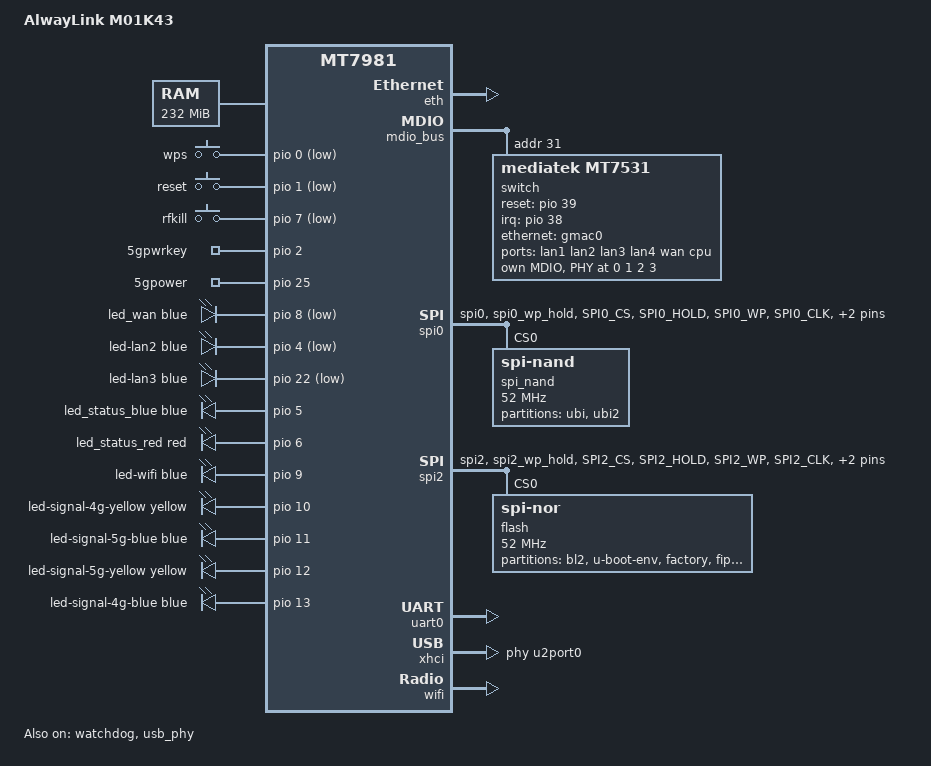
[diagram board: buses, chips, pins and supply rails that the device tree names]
// SPDX-License-Identifier: GPL-2.0-or-later OR MIT

/dts-v1/;

#include <dt-bindings/gpio/gpio.h>
#include <dt-bindings/input/input.h>
#include <dt-bindings/leds/common.h>
#include <dt-bindings/pinctrl/mt65xx.h>

#include "mt7981b.dtsi"

/ {
	model = "AlwayLink M01K43";
	compatible = "alwaylink,m01k43", "mediatek,mt7981";

	aliases {
		serial0 = &uart0;
		label-mac-device = &gmac0;
		led-boot = &led_wan;
		led-failsafe = &led_status_red;
		led-running = &led_status_blue;
		led-upgrade = &led_status_blue;
	};

	chosen {
		stdout-path = "serial0:115200n8";
	};

	memory@40000000 {
		reg = <0 0x40000000 0 0x0e800000>;
		device_type = "memory";
	};

	gpio-keys {
		compatible = "gpio-keys";

		button-wps {
			label = "wps";
			linux,code = <KEY_WPS_BUTTON>;
			gpios = <&pio 0 GPIO_ACTIVE_LOW>;
			debounce-interval = <20>;
		};

		button-reset {
			label = "reset";
			linux,code = <KEY_RESTART>;
			gpios = <&pio 1 GPIO_ACTIVE_LOW>;
			debounce-interval = <20>;
		};

		button-rfkill {
			label = "rfkill";
			linux,code = <KEY_RFKILL>;
			gpios = <&pio 7 GPIO_ACTIVE_LOW>;
			debounce-interval = <20>;
		};
	};

	gpio-export {
		compatible = "gpio-export";

		modem-pwrkey {
			gpio-export,name = "5gpwrkey";
			gpio-export,output = <0>;
			gpios = <&pio 2 GPIO_ACTIVE_HIGH>;
		};

		modem-power {
			gpio-export,name = "5gpower";
			gpio-export,output = <0>;
			gpios = <&pio 25 GPIO_ACTIVE_HIGH>;
		};
	};

	leds {
		compatible = "gpio-leds";

		led_wan: led-wan {
			color = <LED_COLOR_ID_BLUE>;
			function = LED_FUNCTION_WAN;
			gpios = <&pio 8 GPIO_ACTIVE_LOW>;
		};

		led-lan2 {
			color = <LED_COLOR_ID_BLUE>;
			function = LED_FUNCTION_LAN;
			function-enumerator = <2>;
			gpios = <&pio 4 GPIO_ACTIVE_LOW>;
		};

		led-lan3 {
			color = <LED_COLOR_ID_BLUE>;
			function = LED_FUNCTION_LAN;
			function-enumerator = <3>;
			gpios = <&pio 22 GPIO_ACTIVE_LOW>;
		};

		led_status_blue: led-status-blue {
			color = <LED_COLOR_ID_BLUE>;
			function = LED_FUNCTION_STATUS;
			gpios = <&pio 5 GPIO_ACTIVE_HIGH>;
		};

		led_status_red: led-status-red {
			color = <LED_COLOR_ID_RED>;
			function = LED_FUNCTION_STATUS;
			function-enumerator = <1>;
			gpios = <&pio 6 GPIO_ACTIVE_HIGH>;
		};

		led-wifi {
			color = <LED_COLOR_ID_BLUE>;
			function = LED_FUNCTION_WLAN;
			gpios = <&pio 9 GPIO_ACTIVE_HIGH>;
		};

		led-signal-4g-yellow {
			color = <LED_COLOR_ID_YELLOW>;
			function = LED_FUNCTION_INDICATOR;
			function-enumerator = <0>;
			gpios = <&pio 10 GPIO_ACTIVE_HIGH>;
		};

		led-signal-5g-blue {
			color = <LED_COLOR_ID_BLUE>;
			function = LED_FUNCTION_INDICATOR;
			function-enumerator = <1>;
			gpios = <&pio 11 GPIO_ACTIVE_HIGH>;
		};

		led-signal-5g-yellow {
			color = <LED_COLOR_ID_YELLOW>;
			function = LED_FUNCTION_INDICATOR;
			function-enumerator = <2>;
			gpios = <&pio 12 GPIO_ACTIVE_HIGH>;
		};

		led-signal-4g-blue {
			color = <LED_COLOR_ID_BLUE>;
			function = LED_FUNCTION_INDICATOR;
			function-enumerator = <3>;
			gpios = <&pio 13 GPIO_ACTIVE_HIGH>;
		};
	};
};

&eth {
	status = "okay";

	gmac0: mac@0 {
		compatible = "mediatek,eth-mac";
		reg = <0>;
		phy-mode = "2500base-x";
		/* MAC address in ledeinfo partition on SPI-NOR */

		fixed-link {
			speed = <2500>;
			full-duplex;
			pause;
		};
	};

	gmac1: mac@1 {
		compatible = "mediatek,eth-mac";
		reg = <1>;
		phy-mode = "gmii";
		phy-handle = <&int_gbe_phy>;
	};
};

&mdio_bus {
	switch: switch@1f {
		compatible = "mediatek,mt7531";
		reg = <31>;
		reset-gpios = <&pio 39 GPIO_ACTIVE_HIGH>;
		interrupt-controller;
		#interrupt-cells = <1>;
		interrupt-parent = <&pio>;
		interrupts = <38 IRQ_TYPE_LEVEL_HIGH>;

		ports {
			#address-cells = <1>;
			#size-cells = <0>;

			port@0 {
				reg = <0>;
				label = "lan1";
				phy-handle = <&swphy0>;
			};

			port@1 {
				reg = <1>;
				label = "lan2";
				phy-handle = <&swphy1>;
			};

			port@2 {
				reg = <2>;
				label = "lan3";
				phy-handle = <&swphy2>;
			};

			port@3 {
				reg = <3>;
				label = "lan4";
				phy-handle = <&swphy3>;
			};

			port@5 {
				reg = <5>;
				label = "wan";
				phy-mode = "2500base-x";

				fixed-link {
					speed = <2500>;
					full-duplex;
					pause;
				};
			};

			port@6 {
				reg = <6>;
				label = "cpu";
				ethernet = <&gmac0>;
				phy-mode = "2500base-x";

				fixed-link {
					speed = <2500>;
					full-duplex;
					pause;
				};
			};
		};

		mdio {
			#address-cells = <1>;
			#size-cells = <0>;

			swphy0: phy@0 {
				reg = <0>;
			};

			swphy1: phy@1 {
				reg = <1>;
			};

			swphy2: phy@2 {
				reg = <2>;
			};

			swphy3: phy@3 {
				reg = <3>;
			};

		};
	};
};

&spi0 {
	pinctrl-names = "default";
	pinctrl-0 = <&spi0_flash_pins>;
	status = "okay";

	spi_nand@0 {
		compatible = "spi-nand";
		reg = <0>;

		spi-max-frequency = <52000000>;
		spi-tx-bus-width = <4>;
		spi-rx-bus-width = <4>;

		mediatek,nmbm;
		mediatek,bmt-max-ratio = <1>;
		mediatek,bmt-max-reserved-blocks = <64>;

		partitions {
			compatible = "fixed-partitions";
			#address-cells = <1>;
			#size-cells = <1>;

			partition@0 {
				label = "ubi";
				reg = <0x0000000 0x3800000>;
			};

			partition@3800000 {
				label = "ubi2";
				reg = <0x3800000 0x3800000>;
			};
		};
	};
};

&spi2 {
	pinctrl-names = "default";
	pinctrl-0 = <&spi2_flash_pins>;
	status = "okay";

	flash@0 {
		compatible = "jedec,spi-nor";
		reg = <0>;

		spi-max-frequency = <52000000>;
		spi-tx-buswidth = <4>;
		spi-rx-buswidth = <4>;

		partitions {
			compatible = "fixed-partitions";
			#address-cells = <1>;
			#size-cells = <1>;

			partition@0 {
				label = "bl2";
				reg = <0x000000 0x040000>;
				read-only;
			};

			partition@40000 {
				label = "u-boot-env";
				reg = <0x040000 0x010000>;
			};

			factory: partition@50000 {
				label = "factory";
				reg = <0x050000 0x0b0000>;
				read-only;

				nvmem-layout {
					compatible = "fixed-layout";
					#address-cells = <1>;
					#size-cells = <1>;

					/* WiFi EEPROM at offset 0x0, size 0x5000 */
					eeprom_factory: eeprom@0 {
						reg = <0x0 0x5000>;
					};
				};
			};

			partition@100000 {
				label = "fip";
				reg = <0x100000 0x200000>;
				read-only;
			};

			partition@300000 {
				label = "woem";
				reg = <0x300000 0x010000>;
			};

			partition@310000 {
				label = "ledeinfo";
				reg = <0x310000 0x010000>;
			};

			partition@320000 {
				label = "nvram";
				reg = <0x320000 0x010000>;
			};
		};
	};
};

&pio {
	spi0_flash_pins: spi0-pins {
		mux {
			function = "spi";
			groups = "spi0", "spi0_wp_hold";
		};

		conf-pu {
			pins = "SPI0_CS", "SPI0_HOLD", "SPI0_WP";
			drive-strength = <MTK_DRIVE_8mA>;
			bias-pull-up = <MTK_PUPD_SET_R1R0_11>;
		};

		conf-pd {
			pins = "SPI0_CLK", "SPI0_MOSI", "SPI0_MISO";
			drive-strength = <MTK_DRIVE_8mA>;
			bias-pull-down = <MTK_PUPD_SET_R1R0_11>;
		};
	};

	spi2_flash_pins: spi2-pins {
		mux {
			function = "spi";
			groups = "spi2", "spi2_wp_hold";
		};

		conf-pu {
			pins = "SPI2_CS", "SPI2_HOLD", "SPI2_WP";
			drive-strength = <MTK_DRIVE_8mA>;
			bias-pull-up = <MTK_PUPD_SET_R1R0_11>;
		};

		conf-pd {
			pins = "SPI2_CLK", "SPI2_MOSI", "SPI2_MISO";
			drive-strength = <MTK_DRIVE_8mA>;
			bias-pull-down = <MTK_PUPD_SET_R1R0_11>;
		};
	};
};

&uart0 {
	status = "okay";
};

&watchdog {
	status = "okay";
};

&usb_phy {
	status = "okay";
};

&xhci {
	phys = <&u2port0 PHY_TYPE_USB2>;
	mediatek,u3p-dis-msk = <0x01>;
	status = "okay";
};

&wifi {
	status = "okay";
	nvmem-cells = <&eeprom_factory>;
	nvmem-cell-names = "eeprom";
};

